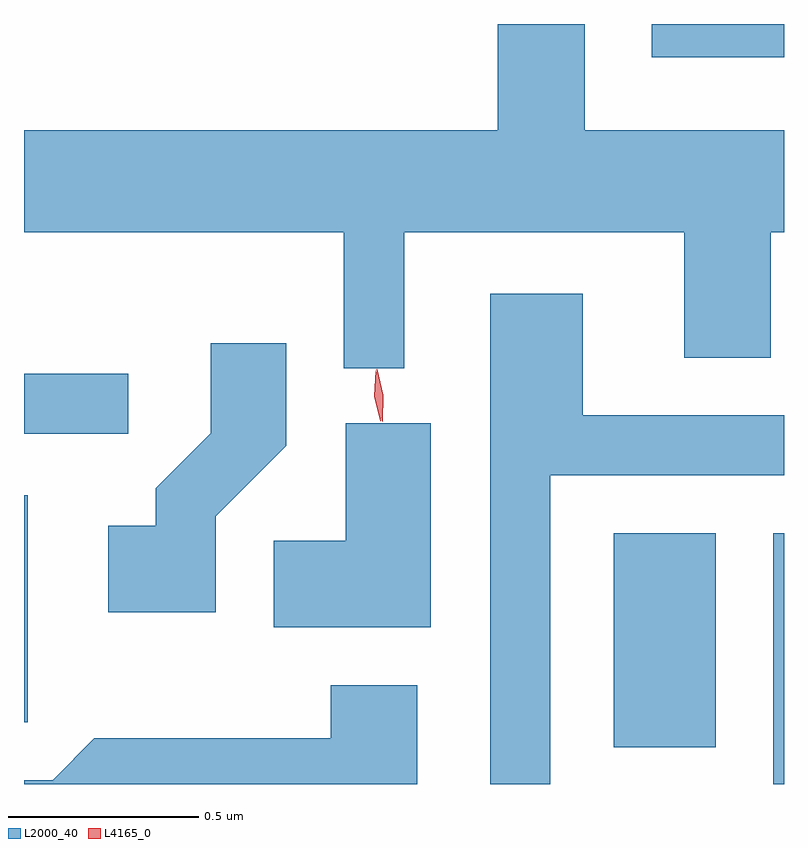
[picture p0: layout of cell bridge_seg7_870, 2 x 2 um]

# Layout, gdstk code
import gdstk
lib = gdstk.Library(unit=1e-6, precision=1e-09)
def R(c, l, rs):  # rectangles x0, y0, x1, y1
    for r in rs: c.add(gdstk.rectangle(r[:2], r[2:], *l))
def P(c, l, *ps):  # polygons
    for p in ps: c.add(gdstk.Polygon(p, *l))
L2000_40 = (2000, 40)
L4165_0 = (4165, 0)

bridge_seg7_870 = lib.new_cell('bridge_seg7_870')
R(bridge_seg7_870, L2000_40, [(204.936,1710.644,204.964,1711.304), (204.516,1710.741,204.784,1711.304), (202.964,1710.806,202.974,1711.404), (202.964,1711.566,203.238,1711.724), (204.616,1712.556,204.964,1712.644)])
P(bridge_seg7_870, L2000_40, [(203.964,1712.096),(204.701,1712.096),(204.701,1711.766),(204.929,1711.766),(204.929,1712.096),(204.964,1712.096),(204.964,1712.364),(204.439,1712.364),(204.439,1712.644),(204.211,1712.644),(204.211,1712.364),(202.964,1712.364),(202.964,1712.096),(203.806,1712.096),(203.806,1711.738),(203.964,1711.738)],
  [(204.349,1711.456),(204.964,1711.456),(204.964,1711.614),(204.434,1711.614),(204.434,1711.934),(204.191,1711.934),(204.191,1710.644),(204.349,1710.644)],
  [(203.469,1711.349),(203.654,1711.534),(203.654,1711.804),(203.456,1711.804),(203.456,1711.567),(203.311,1711.422),(203.311,1711.324),(203.186,1711.324),(203.186,1711.096),(203.469,1711.096)],
  [(204.034,1711.594),(203.811,1711.594),(203.811,1711.284),(203.621,1711.284),(203.621,1711.056),(204.034,1711.056)],
  [(203.999,1710.904),(203.771,1710.904),(203.771,1710.764),(203.149,1710.764),(203.039,1710.654),(202.964,1710.654),(202.964,1710.644),(203.999,1710.644)])
P(bridge_seg7_870, L4165_0, [(203.902,1711.599),(203.902,1711.6),(203.886,1711.664),(203.889,1711.731),(203.89,1711.732),(203.89,1711.731),(203.906,1711.666),(203.903,1711.6)],
  [(203.908,1711.597),(203.907,1711.598),(203.89,1711.665),(203.892,1711.735),(203.892,1711.735),(203.893,1711.735),(203.91,1711.667),(203.908,1711.598)])

lib.write_gds('bridge_seg7_870.gds')
